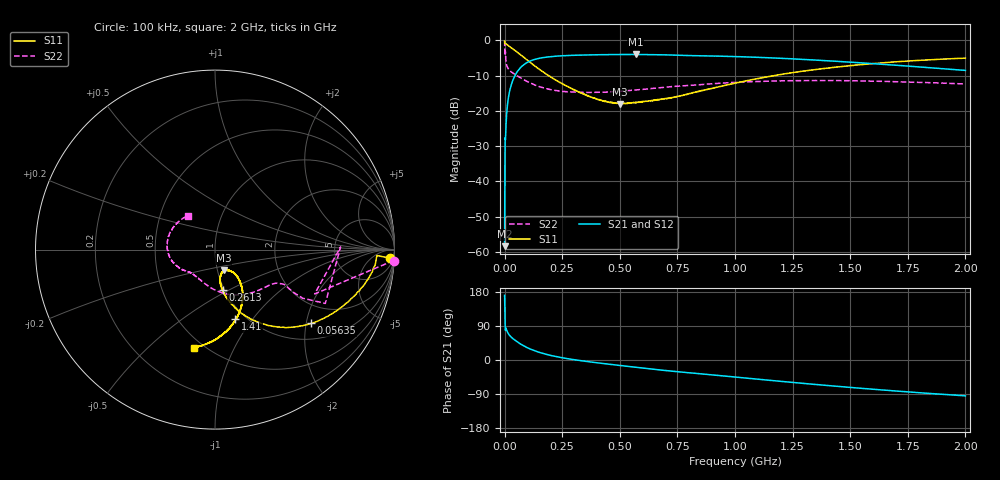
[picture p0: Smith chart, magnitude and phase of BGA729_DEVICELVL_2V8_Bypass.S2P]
!Agilent Technologies,E5071C,MY46105553,A.09.30
!Date: Fri Apr 03 07:21:26 2015
!Data & Calibration Information:
!Freq	S11:SOLT2(ON)	S21:SOLT2(ON)	S12:SOLT2(ON)	S22:SOLT2(ON)
# Hz S dB R 50
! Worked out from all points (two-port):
!   1601 points, 100 kHz to 2 GHz, reference 50 ohm
!   highest |S21| = -4.00 dB at 570.1 MHz (marker M1); lowest = -58.4 dB at 100 kHz (marker M2)
!   |S21| within 3 dB of the highest: 81.19 MHz to 1.684 GHz (1.602 GHz wide, 182 % of centre); 1.683927 GHz to 1.685702 GHz (1.775 MHz wide, 0.105 % of centre)
!   lowest |S11| = -18.0 dB at 498.8 MHz (marker M3), VSWR 1.29, Z = 53.5 - j12.6 ohm
!   |S11| at or under -10 dB: 190.8 MHz to 1.172 GHz (980.7 MHz wide, 144 % of centre); 1.174909 GHz to 1.175151 GHz (242.1 kHz wide, 0.0206 % of centre)
!   |S22| runs from -14.8 to 0.0 dB; largest |S21 - S12| = 0.0032
!   S11 on the Smith chart (normalised r, x): 100 kHz: 17, -32; 56.35 MHz: 1.41, -2.14; 261.3 MHz: 0.98, -0.47; 1.41 GHz: 0.89, -0.83; 2 GHz: 0.44, -0.70
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100000  -0.23 -2.8  -58.37 170.5  -64.59 -148.8  -0.03 -3.5
5099750  -0.96 -5.6  -25.71 84.0  -25.80 85.0  -5.06 -29.0
1.134944e7  -1.25 -11.2  -19.01 75.6  -19.04 75.7  -7.45 -26.8
1.509925e7  -1.42 -14.1  -16.94 70.8  -16.98 71.1  -7.97 -27.9
2.134894e7  -1.74 -18.3  -14.56 65.2  -14.64 65.4  -8.49 -30.5
3.00985e7  -2.17 -23.7  -12.40 59.6  -12.46 59.8  -9.00 -35.2
4.134794e7  -2.68 -29.9  -10.48 53.9  -10.53 54.1  -9.50 -42.0
5.634719e7  -3.42 -37.5  -8.76 47.2  -8.79 47.5  -10.12 -51.0
9.509525e7  -5.42 -52.9  -6.38 33.5  -6.40 33.7  -11.57 -71.3
1.375931e8  -7.57 -64.3  -5.29 22.8  -5.31 23.0  -12.81 -87.9
1.925904e8  -10.09 -73.5  -4.67 13.2  -4.68 13.4  -13.87 -103.0
2.613369e8  -12.73 -79.5  -4.34 4.8  -4.35 4.9  -14.52 -115.8
3.338333e8  -14.98 -80.7  -4.18 -2.0  -4.18 -1.9  -14.73 -124.8
4.250788e8  -17.10 -75.8  -4.07 -9.1  -4.06 -9.0  -14.70 -133.1
4.988251e8  -18.01 -67.8  -4.01 -14.4  -4.01 -14.2  -14.47 -138.3
5.700715e8  -17.68 -60.4  -4.00 -19.2  -4.00 -19.1  -14.04 -142.1
6.675666e8  -16.91 -55.4  -4.07 -25.7  -4.06 -25.7  -13.46 -147.9
1.00005e9  -12.16 -53.7  -4.60 -44.9  -4.60 -44.9  -11.91 -169.0
1.333783e9  -8.40 -69.5  -5.54 -63.7  -5.53 -63.8  -11.42 169.0
1.41003e9  -7.87 -73.6  -5.81 -67.7  -5.82 -67.8  -11.39 164.1
1.667517e9  -6.22 -87.2  -6.92 -80.4  -6.91 -80.4  -11.67 148.3
2e9  -5.05 -102.3  -8.53 -94.6  -8.52 -94.6  -12.38 128.0
